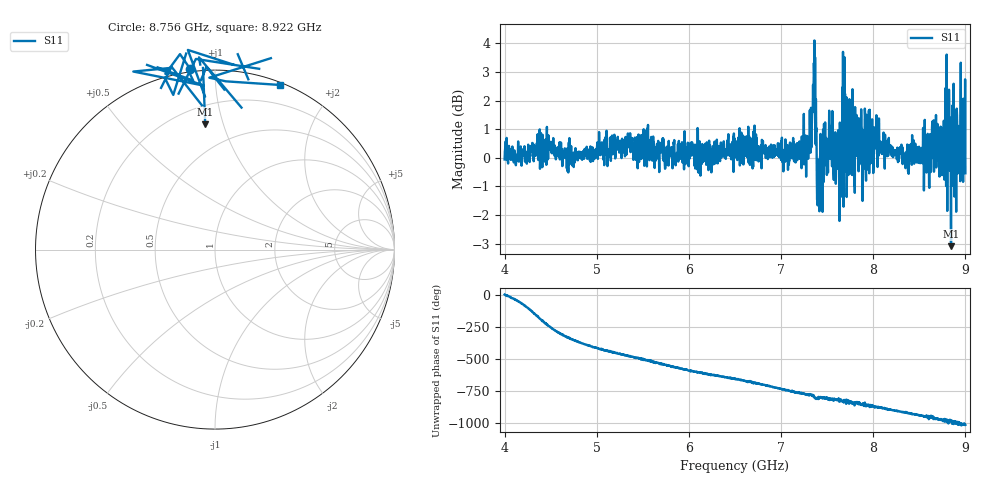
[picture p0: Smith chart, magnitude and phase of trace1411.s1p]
! Created with skrf 1.8.0 (http://scikit-rf.org).
# Hz S RI R 50.0
!freq ReS11 ImS11
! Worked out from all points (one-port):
!   1601 points, 4 GHz to 9 GHz, reference 50 ohm
!   lowest |S11| = -3.1 dB at 8.844 GHz (marker M1), VSWR 5.68, Z = 15.9 + j43.7 ohm
!   |S11| at or under -10 dB: nowhere
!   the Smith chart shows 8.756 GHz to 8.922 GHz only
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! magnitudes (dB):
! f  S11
! 4 GHz  -0.1
! 4.625 GHz  -0.3
! 5.25 GHz  0.4
! 5.875 GHz  0.0
! 6.5 GHz  0.3
! 7.125 GHz  0.4
! 7.294 GHz  0.0
! 7.347 GHz  2.6
! 7.362 GHz  4.1
! 7.397 GHz  -1.7
! 7.412 GHz  -0.6
! 7.481 GHz  -0.1
! 7.538 GHz  1.1
! 7.591 GHz  0.4
! 7.638 GHz  1.2
! 7.684 GHz  -0.4
! 7.75 GHz  0.5
! 7.775 GHz  2.4
! 7.828 GHz  0.7
! 7.928 GHz  1.1
! 8.375 GHz  0.0
! 8.603 GHz  0.2
! 8.656 GHz  1.3
! 8.766 GHz  1.3
! 8.8 GHz  1.4
! 8.844 GHz  -3.1
! 8.972 GHz  0.5
! 9 GHz  -0.5
